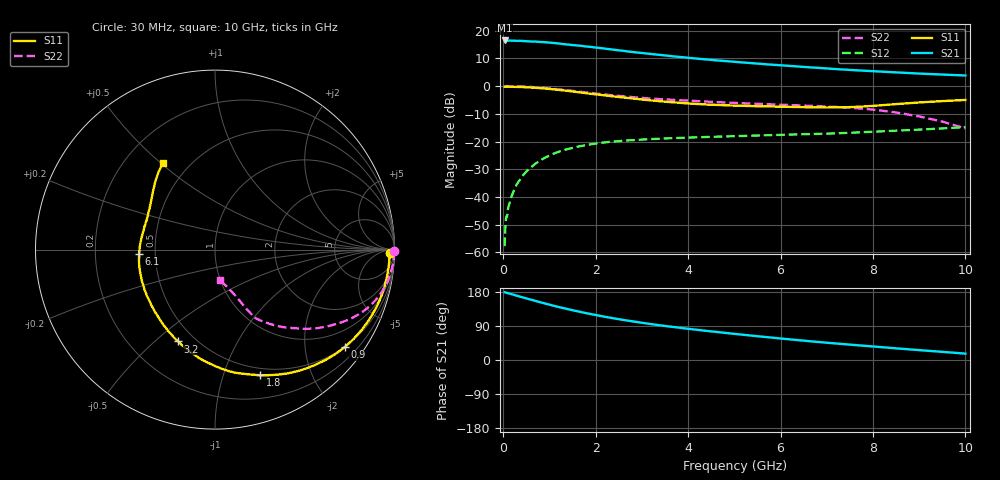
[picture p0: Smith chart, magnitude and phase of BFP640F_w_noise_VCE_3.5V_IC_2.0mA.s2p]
! Infineon Technologies  Discrete & RF Semiconductors
! BFP640F
! VCE =  3.5 V,  IC =  2.0 mA
! Common Emitter S-Parameters:  Apr 2013
# GHz  S  MA  R  50
!  f  S11  S21  S12  S22
! GHz  MAG  ANG  MAG  ANG  MAG  ANG  MAG  ANG
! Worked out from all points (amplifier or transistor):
!   99 points, 30 MHz to 10 GHz, reference 50 ohm
!   highest |S21| = 16.5 dB at 30 MHz (marker M1)
!   |S21| within 3 dB of that: start of sweep to 2.225 GHz
!   unconditionally stable (mu >= 1): 5.633 GHz to end of sweep
!   at 350 MHz: K = 0.02, MSG = 25.2 dB, |S12| = -34.1 dB
!   at 3.5 GHz: K = 0.69, MSG = 15.0 dB, |S12| = -18.9 dB
!   at 10 GHz: K = 1.22, MAG = 6.5 dB, |S12| = -14.8 dB
!   lowest NFmin = 0.46 dB at 450 MHz
!   S11 on the Smith chart (normalised r, x): 30 MHz: 47, -38; 900 MHz: 0.49, -2.92; 1.8 GHz: 0.43, -1.33; 3.2 GHz: 0.41, -0.60; 6.1 GHz: 0.40, -0.02; 10 GHz: 0.36, +0.51
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0.03  0.9747 -1.2  6.649 178.9  0.0013 78.3  0.9988 -0.6
0.04  0.9743 -1.7  6.443 178.6  0.0021 76.2  0.9981 -0.8
0.05  0.9757 -2.1  6.566 178.4  0.0033 69.0  0.9985 -1.1
0.06  0.9741 -2.5  6.53 177.7  0.0041 102.2  0.9985 -1.3
0.13  0.9716 -5.4  6.643 175.4  0.0075 84.2  0.9968 -2.8
0.25  0.968 -10.4  6.572 171.3  0.0145 83.8  0.9927 -5.5
0.4  0.9608 -16.6  6.535 166.0  0.0229 82.0  0.9832 -8.8
0.9  0.9041 -37.0  6.185 149.2  0.051 70.7  0.9247 -19.2
1.2  0.8527 -48.7  5.865 139.8  0.0653 63.5  0.8742 -24.6
1.7  0.7602 -67.0  5.307 126.0  0.0837 53.5  0.7848 -32.1
1.8  0.7435 -70.3  5.173 123.5  0.0865 51.9  0.7674 -33.6
2.1  0.6955 -80.6  4.858 116.3  0.0946 47.0  0.7203 -37.4
2.4  0.6499 -89.8  4.518 109.7  0.1002 43.0  0.6781 -40.6
2.8  0.5972 -101.1  4.12 101.9  0.1061 38.9  0.6325 -43.9
3.2  0.5513 -111.9  3.791 94.7  0.111 35.6  0.5968 -46.8
3.4  0.5318 -117.1  3.646 91.4  0.1128 34.2  0.5816 -48.1
4.2  0.4757 -136.4  3.125 79.6  0.1195 30.2  0.5362 -51.9
5.1  0.4432 -156.8  2.699 67.8  0.1259 27.5  0.4942 -55.2
6.1  0.4242 -176.8  2.344 55.7  0.1327 25.5  0.4593 -58.2
6.7  0.4149 170.8  2.16 48.8  0.1369 24.9  0.4381 -59.7
8.5  0.4735 136.9  1.767 30.8  0.1571 24.1  0.3348 -63.5
10  0.5627 121.2  1.553 16.8  0.1821 21.8  0.1722 -80.3
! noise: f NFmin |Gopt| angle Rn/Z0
0.45  0.46  0.63  10  0.28
0.9  0.57  0.59  22  0.27
1.5  0.67  0.58  31  0.27
1.9  0.72  0.54  46  0.26
2.4  0.8  0.51  62  0.26
3.5  0.94  0.43  82  0.25
5.5  1.26  0.36  145  0.24
10  2.23  0.53  -110  0.45
